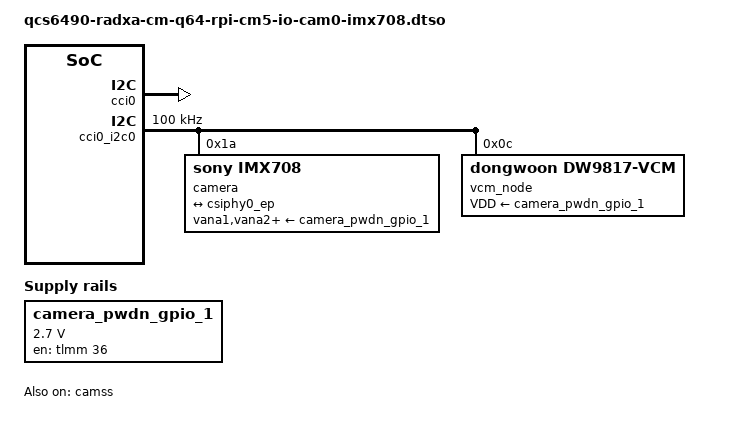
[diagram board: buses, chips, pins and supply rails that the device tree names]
// SPDX-License-Identifier: BSD-3-Clause
/*
 * Copyright (c) 2025 Radxa Computer (Shenzhen) Co., Ltd.
 */

/dts-v1/;
/plugin/;

#include <dt-bindings/clock/qcom,camcc-sc7280.h>
#include <dt-bindings/gpio/gpio.h>

/ {
	metadata {
		title = "Enable Raspberry Pi Camera Module 3 on CAM0";
		compatible = "radxa,cm-q64-rpi-cm5-io";
		category = "camera";
		exclusive = "cci0_i2c0";
		description = "Enable Raspberry Pi Camera Module 3 on CAM0.";
	};
};

&{/reserved-memory} {
	linux,cma {
		compatible = "shared-dma-pool";
		size = <0x0 0x20000000>;
		reusable;
		linux,cma-default;
	};
};

&{/} {
	camera_pwdn_gpio_1: camera-pwdn-gpio-1 {
		status = "okay";
		compatible = "regulator-fixed";
		regulator-name = "camera_pwdn_gpio_1";
		startup-delay-us = <500000>;
		off-on-delay-us = <30000>;
		regulator-min-microvolt = <2700000>;
		regulator-max-microvolt = <2700000>;
		enable-active-high;
		gpios = <&tlmm 36 GPIO_ACTIVE_HIGH>;
		pinctrl-names = "default";
		pinctrl-0 = <&cam_pwdn_gpio_1>;
	};
};

&camss {
	vdda-phy-supply = <&vreg_l10c_0p88>;
	vdda-pll-supply = <&vreg_l6b_1p2>;

	status = "okay";

	ports {
		#address-cells = <1>;
		#size-cells = <0>;

		/* The port index denotes CSIPHY id i.e. csiphy0 */
		port@0 {
			reg = <0>;

			csiphy0_ep: endpoint {
				clock-lanes = <7>;
				data-lanes = <0 1>;
				remote-endpoint = <&imx708_1_ep>;
				clock-noncontinuous;
			};
		};
	};
};

&cci0 {
	status = "okay";
};

&cci0_i2c0 {
	#address-cells = <1>;
	#size-cells = <0>;

	clock-frequency = <100000>;
	camera@1a {
		compatible = "sony,imx708";
		reg = <0x1a>;

		vana1-supply = <&camera_pwdn_gpio_1>;	/* 2.8v */
		vana2-supply = <&camera_pwdn_gpio_1>;	/* 1.8v */
		vdig-supply = <&camera_pwdn_gpio_1>;	/* 1.1v */
		vddl-supply = <&camera_pwdn_gpio_1>;	/* 1.8v */

		clocks = <&camcc CAM_CC_MCLK0_CLK>;
		clock-names = "inclk";
		assigned-clocks = <&camcc CAM_CC_MCLK0_CLK>;
		assigned-clock-rates = <24000000>;

		lens-focus = <&vcm_node>;

		port {
			imx708_1_ep: endpoint {
				link-frequencies = /bits/ 64 <450000000>;
				data-lanes = <1 2>;
				remote-endpoint = <&csiphy0_ep>;
				clock-noncontinuous;
			};
		};
	};

	vcm_node: dw9817@c {
		compatible = "dongwoon,dw9817-vcm";
		reg = <0x0c>;
		status = "okay";
		VDD-supply = <&camera_pwdn_gpio_1>;
	};
};

&tlmm {
	cam0_default: cam0-default-state {
		pins = "gpio64";
		function = "cam_mclk";
		drive-strength = <2>;
		bias-disable;
	};

	cam0_suspend: cam0-suspend-state {
		pins = "gpio64";
		function = "cam_mclk";
		drive-strength = <2>;
		bias-pull-down;
	};

	cam_pwdn_gpio_1: cam-pwdn-gpio-1-state {
		pins = "gpio36";
		function = "gpio";
		drive-strength = <2>;
		bias-pull-up;
	};
};
